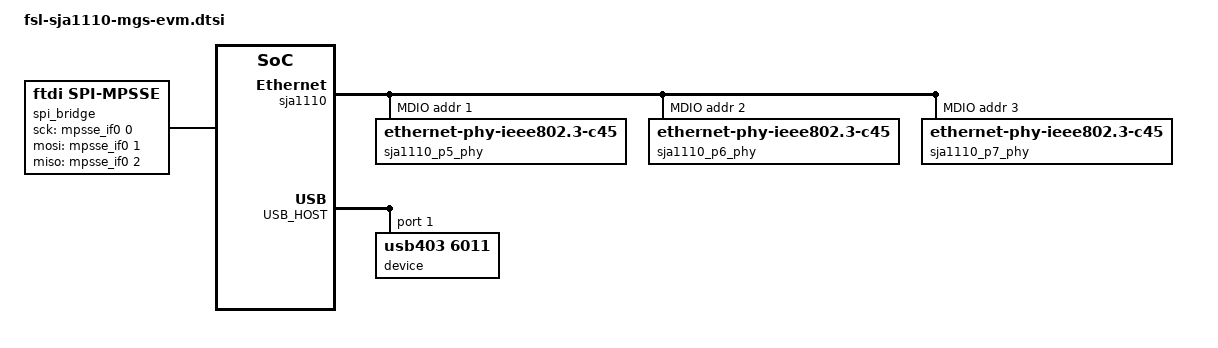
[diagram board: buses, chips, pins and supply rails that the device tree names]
// SPDX-License-Identifier: (GPL-2.0+ OR MIT)
/* Copyright 2025 NXP */

#include <dt-bindings/gpio/gpio.h>

/* Definitions which must be provided via C preprocessor:
 * USB_HOST
 * DSA_CONDUIT
 * DSA_CPU_PORT
 * DSA_TREE_INDEX
 * DSA_SWITCH_INDEX
 */
/ {
	spi_bridge: spi-mpsse {
		compatible = "ftdi,spi-mpsse";
		#address-cells = <1>;
		#size-cells = <0>;
		ftdi,mpsse-handle = <&mpsse_if0>;
		sck-gpios =  <&mpsse_if0 0 GPIO_ACTIVE_HIGH>;
		mosi-gpios = <&mpsse_if0 1 GPIO_ACTIVE_HIGH>;
		miso-gpios = <&mpsse_if0 2 GPIO_ACTIVE_HIGH>;
		cs-gpios = <&mpsse_if0 3 GPIO_ACTIVE_LOW>,
			   <&mpsse_if0 4 GPIO_ACTIVE_LOW>;
	};
};

&USB_HOST {
	#address-cells = <1>;
	#size-cells = <0>;
	status = "okay";

	device@1 {
		compatible = "usb403,6011";
		reg = <1>;
		#address-cells = <2>;
		#size-cells = <0>;

		mpsse_if0: interface@0 {
			compatible = "ftdi,gpio-mpsse", "usbif403,6011.config1.0";
			reg = <0 1>;
			gpio-controller;
			#gpio-cells = <2>;
		};

		mpsse_if1: interface@1 {
			compatible = "ftdi,gpio-mpsse", "usbif403,6011.config1.1";
			reg = <1 1>;
			gpio-controller;
			#gpio-cells = <2>;
		};

		mpsse_if2: interface@2 {
			compatible = "ftdi,gpio-mpsse", "usbif403,6011.config1.2";
			reg = <2 1>;
			gpio-controller;
			#gpio-cells = <2>;
		};

		mpsse_if3: interface@3 {
			compatible = "ftdi,gpio-mpsse", "usbif403,6011.config1.3";
			reg = <3 1>;
			gpio-controller;
			#gpio-cells = <2>;
		};
	};
};

&spi_bridge {
	sja1110: ethernet-switch@0 {
		compatible = "nxp,sja1110d";
		reg = <0>;
		spi-max-frequency = <15000000>;
		dsa,member = <DSA_TREE_INDEX DSA_SWITCH_INDEX>;

		ethernet-ports {
			#address-cells = <1>;
			#size-cells = <0>;

			/* Microcontroller port */
			sja1110_p0: port@0 {
				reg = <0>;
				status = "disabled";
			};

			sja1110_p1: port@1 {
				reg = <1>;
				status = "disabled";
			};

			sja1110_p2: port@2 {
				reg = <2>;
				status = "disabled";
			};

			sja1110_p3: port@3 {
				reg = <3>;
				status = "disabled";
			};

			/* SFP interface */
			sja1110_p4: port@4 {
				reg = <4>;
				phy-mode = "sgmii";
				managed = "in-band-status";
			};

			sja1110_p5: port@5 {
				reg = <5>;
				phy-mode = "internal";
				phy-handle = <&sja1110_p5_phy>;
			};

			sja1110_p6: port@6 {
				reg = <6>;
				phy-mode = "internal";
				phy-handle = <&sja1110_p6_phy>;
			};

			sja1110_p7: port@7 {
				reg = <7>;
				phy-mode = "internal";
				phy-handle = <&sja1110_p7_phy>;
			};
		};

		mdios {
			#address-cells = <1>;
			#size-cells = <0>;

			mdio@0 {
				compatible = "nxp,sja1110-base-t1-mdio";
				#address-cells = <1>;
				#size-cells = <0>;
				reg = <0>;

				sja1110_p5_phy: ethernet-phy@1 {
					compatible = "ethernet-phy-ieee802.3-c45";
					reg = <0x1>;
				};

				sja1110_p6_phy: ethernet-phy@2 {
					compatible = "ethernet-phy-ieee802.3-c45";
					reg = <0x2>;
				};

				sja1110_p7_phy: ethernet-phy@3 {
					compatible = "ethernet-phy-ieee802.3-c45";
					reg = <0x3>;
				};
			};
		};
	};
};

&DSA_CPU_PORT {
	ethernet = <&DSA_CONDUIT>;
};
